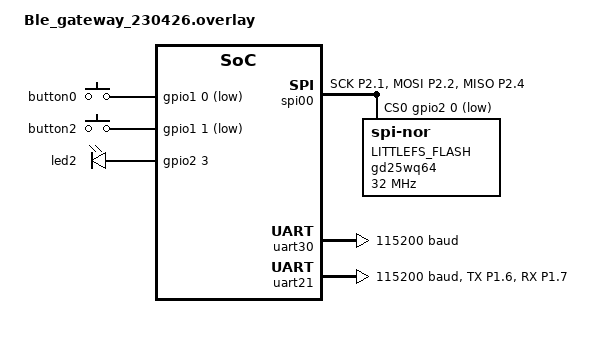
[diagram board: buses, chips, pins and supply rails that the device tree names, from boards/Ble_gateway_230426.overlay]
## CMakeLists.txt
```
cmake_minimum_required(VERSION 3.20.0)
find_package(Zephyr REQUIRED HINTS $ENV{ZEPHYR_BASE})

project(NRF52840_NORMAL_CONNECTION_VER_2)

target_include_directories(app PRIVATE
	${CMAKE_CURRENT_SOURCE_DIR}/driver/ots
	${CMAKE_CURRENT_SOURCE_DIR}/driver/uart_cmd
	${CMAKE_CURRENT_SOURCE_DIR}/src
)

target_sources(app PRIVATE src/main.c)

add_subdirectory(driver/ots)
add_subdirectory(driver/uart_cmd)
```

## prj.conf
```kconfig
# Bluetooth Configuration
CONFIG_BT=y
CONFIG_BT_CENTRAL=y
CONFIG_BT_GATT_CLIENT=y

# Debug Configuration
# CONFIG_LOG=n

# Memory Configuration
CONFIG_MAIN_STACK_SIZE=8192


# Device Name

CONFIG_BT_DEVICE_APPEARANCE=833

# Connection Parameters
CONFIG_BT_MAX_CONN=6
CONFIG_BT_BUF_ACL_RX_SIZE=255
CONFIG_BT_BUF_ACL_TX_SIZE=255
CONFIG_BT_L2CAP_TX_MTU=220
# GATT Configuration
CONFIG_BT_GATT_CLIENT=y

# Console
CONFIG_CONSOLE=y
CONFIG_UART_CONSOLE=y
CONFIG_LOG=y
CONFIG_PRINTK=y
CONFIG_REBOOT=y
CONFIG_SERIAL=y
CONFIG_HEAP_MEM_POOL_SIZE=16384
CONFIG_BT_CTLR_TX_PWR_PLUS_8=y

CONFIG_CLOCK_CONTROL_NRF_K32SRC_RC=y
CONFIG_RING_BUFFER=y

# for flash 
CONFIG_SPI=y
CONFIG_FLASH=y
CONFIG_FLASH_MAP=y
CONFIG_SPI_NOR=y
CONFIG_FILE_SYSTEM=y
CONFIG_FILE_SYSTEM_LITTLEFS=y
CONFIG_FILE_SYSTEM_MKFS=y
CONFIG_PM_PARTITION_REGION_LITTLEFS_EXTERNAL=y
CONFIG_SPI_NOR_FLASH_LAYOUT_PAGE_SIZE=4096
# CONFIG_PM_PARTITION_SIZE_LITTLEFS=0x400000   
CONFIG_FLASH_PAGE_LAYOUT=y
CONFIG_NORDIC_QSPI_NOR=n 

# MCUMGR
CONFIG_MCUMGR=y
CONFIG_MCUMGR_TRANSPORT_UART=y
CONFIG_UART_MCUMGR=y
CONFIG_UART_INTERRUPT_DRIVEN=y
CONFIG_MCUMGR_GRP_OS=y
CONFIG_MCUMGR_GRP_FS=y
CONFIG_MCUMGR_GRP_IMG=y
CONFIG_SYSTEM_WORKQUEUE_STACK_SIZE=8192

# CONFIG_IMAGE_MANAGER=y
# CONFIG_BOOT_MAX_IMG_SECTORS=512
CONFIG_NET_BUF=y
CONFIG_ZCBOR=y
CONFIG_CRC=y
CONFIG_BASE64=y


# CONFIG_PM_EXTERNAL_FLASH_ENABLED=y
CONFIG_PM_OVERRIDE_EXTERNAL_DRIVER_CHECK=y
# CONFIG_PM_EXTERNAL_FLASH_SIZE_BITS=134217728
CONFIG_SPI_NOR_SFDP_RUNTIME=y

CONFIG_BOOTLOADER_MCUBOOT=y
CONFIG_FLASH=y
CONFIG_IMG_MANAGER=y
CONFIG_STREAM_FLASH=y

# use external flash for mcuboot
# CONFIG_BOOTLOADER_MCUBOOT_USE_EXTERNAL_FLASH=y
CONFIG_PM_EXTERNAL_FLASH_MCUBOOT_SECONDARY=y


CONFIG_MCUMGR_TRANSPORT_NETBUF_SIZE=8192
CONFIG_MCUMGR_TRANSPORT_UART_MTU=4096
CONFIG_UART_MCUMGR_RX_BUF_SIZE=4096
CONFIG_UART_MCUMGR_RX_BUF_COUNT=8


CONFIG_MCUMGR_TRANSPORT_WORKQUEUE_STACK_SIZE=8192

CONFIG_MCUMGR_GRP_ENUM=y
CONFIG_MCUMGR_GRP_ENUM_DETAILS=y
CONFIG_MCUMGR_GRP_ENUM_DETAILS_NAME=y
CONFIG_MCUMGR_MGMT_NOTIFICATION_HOOKS=y
# CONFIG_MCUMGR_MGMT_NOTIFICATION_HOOKS=y
CONFIG_MCUMGR_GRP_FS_FILE_ACCESS_HOOK=y

# rtt
CONFIG_USE_SEGGER_RTT=y
CONFIG_RTT_CONSOLE=y

CONFIG_BT_PERIPHERAL=y
# CONFIG_BT_CTLR_MULTIROLE=y
# CONFIG_BT_CTLR_SDC_MAX_CONN_EVENT_LEN=2000
CONFIG_BT_LL_SOFTDEVICE_MULTIROLE=y
CONFIG_BT_CTLR_SDC_PERIPHERAL_COUNT=5

CONFIG_BT_MAX_PAIRED=6

CONFIG_BT_FILTER_ACCEPT_LIST=y
```

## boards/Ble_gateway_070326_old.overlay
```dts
/ {
	chosen {
		zephyr,uart_console = &uart30;
		zephyr,console = &uart30;
		zephyr,shell-uart = &uart30;
		zephyr,uart-mcumgr = &uart30;
		nordic,pm-ext-flash = &gd25wq64;
	};
};

&uart30 {
	status = "okay";
	current-speed = <115200>;
};

&uart30_default {
	group1 {
		psels = <NRF_PSEL(UART_RTS, 0, 0)>, <NRF_PSEL(UART_TX, 0, 2)>;
	};
};

&uart30_sleep {
	group1 {
		psels = <NRF_PSEL(UART_RTS, 0, 0)>, <NRF_PSEL(UART_TX, 0, 2)>,
			<NRF_PSEL(UART_RX, 0, 3)>, <NRF_PSEL(UART_CTS, 0, 1)>;
	};
};

&uart30_default {
	group2 {
		psels = <NRF_PSEL(UART_RX, 0, 3)>, <NRF_PSEL(UART_CTS, 0, 1)>;
	};
};

&pinctrl {
	spi00_default: spi00_default {
		group1 {
			psels = <NRF_PSEL(SPIM_SCK, 2, 1)>,
				<NRF_PSEL(SPIM_MOSI, 2, 2)>,
				<NRF_PSEL(SPIM_MISO, 2, 4)>;  // MISO pin
		};
	};

	spi00_sleep: spi00_sleep {
		group1 {
			psels = <NRF_PSEL(SPIM_SCK, 2, 1)>,
				<NRF_PSEL(SPIM_MOSI, 2, 2)>,
				<NRF_PSEL(SPIM_MISO, 2, 4)>;
			// low-power-enable;
		};
	};
};

// Enable SPI0 interface
&spi00 {
	status = "okay";
	compatible = "nordic,nrf-spim";
	pinctrl-0 = <&spi00_default>;
	pinctrl-1 = <&spi00_sleep>;
	pinctrl-names = "default", "sleep";
	cs-gpios = <&gpio2 6 GPIO_ACTIVE_LOW>;

	gd25wq64: gd25wq64@0 {
		compatible = "jedec,spi-nor";
		status = "okay";

		reg = <0>;  /* first CS → P2.05 */

		spi-max-frequency = <32000000>;
		jedec-id = [c8 65 17];
		size = <0x4000000>;  /* 8MB */
		label = "LITTLEFS_FLASH";
		wp-gpios = <&gpio2 3 GPIO_ACTIVE_LOW>;
		hold-gpios = <&gpio2 0 GPIO_ACTIVE_LOW>;
	};
};


&pinctrl {
	uart21_default: uart21_default {
		group1 {
			psels = <NRF_PSEL(UART_TX, 1, 6)>;
		};

		group2 {
			psels = <NRF_PSEL(UART_RX, 1, 7)>;
		};
	};

	uart21_sleep: uart21_sleep {
		group1 {
			psels = <NRF_PSEL(UART_TX, 1, 6)>, <NRF_PSEL(UART_RX, 1, 7)>;
		};
	};
};

&uart21 {
	status = "okay";
	current-speed = <115200>;
	pinctrl-0 = <&uart21_default>;
	pinctrl-1 = <&uart21_sleep>;
	pinctrl-names = "default", "sleep";
};


&uart20{
	status = "disabled";
};
```

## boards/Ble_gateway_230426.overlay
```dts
/ {
	chosen {
		zephyr,uart_console = &uart30;
		zephyr,console = &uart30;
		zephyr,shell-uart = &uart30;
		zephyr,uart-mcumgr = &uart30;
		nordic,pm-ext-flash = &gd25wq64;
	};
};

// Pin control configuration for SPI
&pinctrl {
	spi00_default: spi00_default {
		group1 {
			psels = <NRF_PSEL(SPIM_SCK, 2, 1)>,
				<NRF_PSEL(SPIM_MOSI, 2, 2)>,
				<NRF_PSEL(SPIM_MISO, 2, 4)>;  // MISO pin
		};
	};

	spi00_sleep: spi00_sleep {
		group1 {
			psels = <NRF_PSEL(SPIM_SCK, 2, 1)>,
				<NRF_PSEL(SPIM_MOSI, 2, 2)>,
				<NRF_PSEL(SPIM_MISO, 2, 4)>;
			// low-power-enable;
		};
	};
};

// Enable SPI0 interface
&spi00 {
	status = "okay";
	compatible = "nordic,nrf-spim";
	pinctrl-0 = <&spi00_default>;
	pinctrl-1 = <&spi00_sleep>;
	pinctrl-names = "default", "sleep";
	cs-gpios = <&gpio2 0 GPIO_ACTIVE_LOW>;

	gd25wq64: gd25wq64@0 {
		compatible = "jedec,spi-nor";
		status = "okay";

		reg = <0>;  /* first CS → P2.05 */

		spi-max-frequency = <32000000>;
		jedec-id = [c8 65 17];
		size = <0x4000000>;  /* 8MB */

		label = "LITTLEFS_FLASH";
	};
};


// uart 30
&uart30_default {
	group1 {
		psels = <NRF_PSEL(UART_TX, 0, 2)>, <NRF_PSEL(UART_RTS, 0, 0)>;
	};

	group2 {
		psels = <NRF_PSEL(UART_RX, 0, 3)>, <NRF_PSEL(UART_CTS, 0, 1)>;
	};
};

&uart30_sleep {
	group1 {
		psels = <NRF_PSEL(UART_TX, 0, 2)>,
			<NRF_PSEL(UART_RX, 0, 3)>,
			<NRF_PSEL(UART_RTS, 0, 0)>,
			<NRF_PSEL(UART_CTS, 0, 1)>;
	};
};

&uart30 {
	status = "okay";
	current-speed = <115200>;
};


// uart 20

&uart20_default {
	group1 {
		psels = <NRF_PSEL(UART_TX, 1, 4)>, <NRF_PSEL(UART_RTS, 1, 6)>;
	};

	group2 {
		psels = <NRF_PSEL(UART_RX, 1, 5)>, <NRF_PSEL(UART_CTS, 1, 7)>;
	};
};

&uart20_sleep {
	group1 {
		psels = <NRF_PSEL(UART_TX, 1, 4)>,
			<NRF_PSEL(UART_RX, 1, 5)>,
			<NRF_PSEL(UART_RTS, 1, 6)>,
			<NRF_PSEL(UART_CTS, 1, 7)>;
	};
};


&uart20 {
	status = "disabled";
};

&button0 {
	gpios = <&gpio1 0 (GPIO_ACTIVE_LOW | GPIO_PULL_UP)>;
};

&button2 {
	gpios = <&gpio1 1 (GPIO_ACTIVE_LOW | GPIO_PULL_UP)>;
};

&pinctrl {
	uart21_default: uart21_default {
		group1 {
			psels = <NRF_PSEL(UART_TX, 1, 6)>;
		};

		group2 {
			psels = <NRF_PSEL(UART_RX, 1, 7)>;
		};
	};

	uart21_sleep: uart21_sleep {
		group1 {
			psels = <NRF_PSEL(UART_TX, 1, 6)>, <NRF_PSEL(UART_RX, 1, 7)>;
		};
	};
};

&uart21 {
	status = "okay";
	current-speed = <115200>;
	pinctrl-0 = <&uart21_default>;
	pinctrl-1 = <&uart21_sleep>;
	pinctrl-names = "default", "sleep";
};

&pwm20_default {
	group1 {
		psels = <NRF_PSEL(PWM_OUT0, 2, 6)>;
	};
};

&pwm20_sleep {
	group1 {
		psels = <NRF_PSEL(PWM_OUT0, 2, 6)>;
	};
};

&led2 {
	gpios = <&gpio2 3 0>;
};

&mx25r64 {
	status = "disabled";
};
```

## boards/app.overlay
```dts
/ {
	chosen {
		zephyr,uart_console = &uart30;
		zephyr,console = &uart30;
		zephyr,shell-uart = &uart30;
		zephyr,uart-mcumgr = &uart30;
		nordic,pm-ext-flash = &w25q128;
	};
};

// Pin control configuration for SPI
&pinctrl {
	spi20_default: spi20_default {
		group1 {
			psels = <NRF_PSEL(SPIM_SCK, 1, 12)>,
				<NRF_PSEL(SPIM_MOSI, 1, 13)>,
				<NRF_PSEL(SPIM_MISO, 1, 8)>;  // MISO pin
		};
	};

	spi20_sleep: spi20_sleep {
		group1 {
			psels = <NRF_PSEL(SPIM_SCK, 1, 12)>,
				<NRF_PSEL(SPIM_MOSI, 1, 13)>,
				<NRF_PSEL(SPIM_MISO, 1, 8)>;
			// low-power-enable;
		};
	};
};

// Enable SPI0 interface
&spi20 {
	status = "okay";
	compatible = "nordic,nrf-spim";
	pinctrl-0 = <&spi20_default>;
	pinctrl-1 = <&spi20_sleep>;
	pinctrl-names = "default", "sleep";
	cs-gpios = <&gpio2 0 GPIO_ACTIVE_LOW>;

	w25q128: w25q128@0 {
		compatible = "jedec,spi-nor";
		status = "okay";
		reg = <0>;
		spi-max-frequency = <8000000>;
		jedec-id = [ef 40 18];
		size = <0x8000000>;
		label = "LITTLEFS_FLASH";
	};
};

&uart20 {
	status = "disabled";
};

&uart30 {
	status = "okay";
	current-speed = <460800>;
};

&uart30_default {
	group1 {
		psels = <NRF_PSEL(UART_TX, 0, 2)>, <NRF_PSEL(UART_RTS, 0, 0)>;
	};

	group2 {
		psels = <NRF_PSEL(UART_RX, 0, 3)>, <NRF_PSEL(UART_CTS, 0, 1)>;
	};
};

&uart30_sleep {
	group1 {
		psels = <NRF_PSEL(UART_TX, 0, 2)>,
			<NRF_PSEL(UART_RX, 0, 3)>,
			<NRF_PSEL(UART_RTS, 0, 0)>,
			<NRF_PSEL(UART_CTS, 0, 1)>;
	};
};

&uart20_default {
	group1 {
		psels = <NRF_PSEL(UART_TX, 1, 4)>, <NRF_PSEL(UART_RTS, 1, 6)>;
	};

	group2 {
		psels = <NRF_PSEL(UART_RX, 1, 5)>, <NRF_PSEL(UART_CTS, 1, 7)>;
	};
};

&uart20_sleep {
	group1 {
		psels = <NRF_PSEL(UART_TX, 1, 4)>,
			<NRF_PSEL(UART_RX, 1, 5)>,
			<NRF_PSEL(UART_RTS, 1, 6)>,
			<NRF_PSEL(UART_CTS, 1, 7)>;
	};
};

&button0 {
	gpios = <&gpio1 0 (GPIO_ACTIVE_LOW | GPIO_PULL_UP)>;
};

&button2 {
	gpios = <&gpio1 1 (GPIO_ACTIVE_LOW | GPIO_PULL_UP)>;
};

&pinctrl {
	uart21_default: uart21_default {
		group1 {
			psels = <NRF_PSEL(UART_TX, 1, 6)>;
		};

		group2 {
			psels = <NRF_PSEL(UART_RX, 1, 7)>;
		};
	};

	uart21_sleep: uart21_sleep {
		group1 {
			psels = <NRF_PSEL(UART_TX, 1, 6)>, <NRF_PSEL(UART_RX, 1, 7)>;
		};
	};
};

&uart21 {
	status = "okay";
	current-speed = <115200>;
	pinctrl-0 = <&uart21_default>;
	pinctrl-1 = <&uart21_sleep>;
	pinctrl-names = "default", "sleep";
};

&pwm20_default {
	group1 {
		psels = <NRF_PSEL(PWM_OUT0, 2, 6)>;
	};
};

&spi00_default {
	group1 {
		psels = <NRF_PSEL(SPIM_SCK, 2, 1)>,
			<NRF_PSEL(SPIM_MOSI, 2, 2)>,
			<NRF_PSEL(SPIM_MISO, 2, 10)>;
	};
};

&pwm20_sleep {
	group1 {
		psels = <NRF_PSEL(PWM_OUT0, 2, 6)>;
	};
};

&led2 {
	gpios = <&gpio2 3 0>;
};

&mx25r64 {
	status = "disabled";
};
```

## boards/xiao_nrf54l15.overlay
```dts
// /{chosen {
//     zephyr,code-partition = &slot0_partition;
//     zephyr,sram = &cpuapp_sram;
//     zephyr,flash = &cpuapp_rram;
//     zephyr,flash-controller = &rram_controller;
//     zephyr,console = &uart21;
//     zephyr,shell-uart = &uart21;
//     nordic,rpc-uart = &uart21;
//     zephyr,ieee802154 = &ieee802154;
// };};
```

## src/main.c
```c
/*
 * SPDX-License-Identifier: Apache-2.0
 */

#include <zephyr/bluetooth/bluetooth.h>
#include <zephyr/kernel.h>
#include <zephyr/sys/printk.h>
#include <zephyr/device.h>
#include <zephyr/fs/fs.h>
#include <zephyr/fs/littlefs.h>
#include <zephyr/storage/flash_map.h>
#include <zephyr/logging/log.h>
#include <pm_config.h>
#include "ots.h"
#include <zephyr/mgmt/mcumgr/mgmt/callbacks.h>
#include "uart_cmd.h"
#include <zephyr/app_version.h>
static enum mgmt_cb_return fs_event_cb(
	uint32_t event,
	enum mgmt_cb_return prev_status,
	int32_t *rc,
	uint16_t *group,
	bool *abort_more,
	void *data,
	size_t data_size)
{
	printk("MCUmgr event: %u\n", event);

	/* Refresh OTS objects here */
	meta_data_update();

	return MGMT_CB_OK;
}

static struct mgmt_callback fs_cb = {
	.callback = fs_event_cb,
	.event_id = MGMT_EVT_OP_FS_MGMT_FILE_ACCESS_DONE,
};

// mcumgr hooks

LOG_MODULE_REGISTER(main, LOG_LEVEL_INF);

/* LittleFS runtime data */
static struct fs_littlefs lfs_data;

/* Manual mount struct */
static struct fs_mount_t littlefs_mnt = {
	.type = FS_LITTLEFS,
	.fs_data = &lfs_data,
	.storage_dev = (void *)PM_LITTLEFS_STORAGE_ID,
	.mnt_point = "/lfs",
};

static int mount_fs(void)
{
	int rc;

	rc = fs_mount(&littlefs_mnt);
	if (rc == 0)
	{
		LOG_INF("Mounted LittleFS");
		return 0;
	}

	LOG_WRN("Mount failed (%d), formatting...", rc);

	rc = fs_mkfs(FS_LITTLEFS,
				 (uintptr_t)PM_LITTLEFS_STORAGE_ID,
				 NULL, 0);

	if (rc < 0)
	{
		LOG_ERR("Format failed: %d", rc);
		return rc;
	}

	rc = fs_mount(&littlefs_mnt);

	if (rc == 0)
	{
		LOG_INF("Mounted after format");
	}

	return rc;
}

int main(void)
{

	int rc;
    LOG_INF( "VERSION =%s", APP_VERSION_STRING);
	LOG_INF("Start");
	LOG_INF("Partition ID: %d", PM_LITTLEFS_STORAGE_ID);
	LOG_INF("Size: 0x%x", PM_LITTLEFS_STORAGE_SIZE);
	mgmt_callback_register(&fs_cb);
	rc = mount_fs();
	int err;

	printk("Starting Bluetooth OTS server 1\n");

	err = bt_enable(NULL);
	if (err)
	{
		printk("Bluetooth init failed (err %d)\n", err);
		return 0;
	}

	printk("Bluetooth initialized\n");

	err = ots_server_init();
	if (err)
	{
		printk("Failed to init OTS (err %d)\n", err);
		return 0;
	}

	err = ots_server_start();
	if (err)
	{
		printk("Advertising failed to start (err %d)\n", err);
		return 0;
	}
	uart_cmd_init();

	printk("Advertising successfully started for second firmware\n");
	return 0;
}
```
